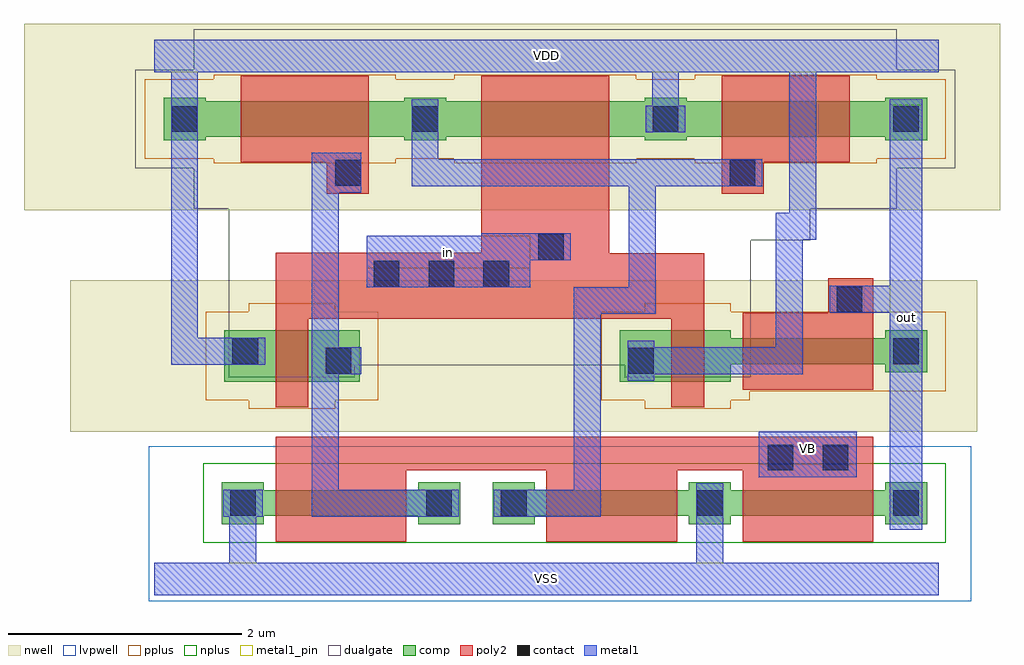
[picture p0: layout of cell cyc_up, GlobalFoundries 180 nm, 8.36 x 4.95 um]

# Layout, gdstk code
import gdstk
lib = gdstk.Library(unit=1e-6, precision=1e-09)
def R(c, l, rs):  # rectangles x0, y0, x1, y1
    for r in rs: c.add(gdstk.rectangle(r[:2], r[2:], *l))
def A(c, l, x, y, w, h, nx, ny, dx, dy):  # array of equal rectangles
    R(c, l, [(x+i*dx, y+j*dy, x+i*dx+w, y+j*dy+h) for i in range(nx) for j in range(ny)])
nwell = (21, 0)
comp = (22, 0)
poly2 = (30, 0)
pplus = (31, 0)
nplus = (32, 0)
contact = (33, 0)
metal1 = (34, 0)
metal1_pin = (34, 10)
dualgate = (55, 0)
lvpwell = (204, 0)

cyc_up = lib.new_cell('cyc_up')
R(cyc_up, nwell, [(-0.72,1.26,7.05,2.56), (-1.115,3.16,7.245,4.755)])
A(cyc_up, comp, 2.9, 0.47, 0.36, 0.07, 3, 2, 1.68, 0.29)
A(cyc_up, comp, 0.08, 3.76, 0.36, 0.03, 4, 2, 2.06, 0.33)
R(cyc_up, comp, [(0.58,0.47,0.94,0.54), (2.26,0.47,2.62,0.54), (0.58,0.54,2.62,0.76), (2.9,0.54,6.62,0.76), (0.58,0.76,0.94,0.83), (2.26,0.76,2.62,0.83), (0.6,1.69,1.76,2.13), (3.99,1.69,4.94,1.84), (6.26,1.77,6.62,1.84), (3.99,1.84,6.62,2.06), (3.99,2.06,4.94,2.13), (6.26,2.06,6.62,2.13), (0.08,3.79,6.62,4.09)])
R(cyc_up, poly2, [(1.04,0.32,2.16,0.93), (3.36,0.32,4.48,0.93), (5.04,0.32,6.16,0.93), (1.04,0.93,6.16,1.22), (1.04,1.47,1.32,2.23), (4.43,1.47,4.71,2.23), (5.04,1.62,6.16,2.28), (1.04,2.23,4.71,2.79), (5.775,2.28,6.16,2.575), (1.04,2.79,3.9,2.795), (2.8,2.795,3.9,4.31), (1.48,3.3,1.84,3.57), (4.86,3.3,5.22,3.57), (0.74,3.57,1.84,4.31), (4.86,3.57,5.96,4.31)])
A(cyc_up, pplus, 0.51, 3.56, 1.56, 0.04, 3, 2, 2.06, 0.72)
R(cyc_up, pplus, [(0.81,1.46,1.55,1.53), (4.2,1.46,4.94,1.53), (0.44,1.53,1.92,2.29), (3.83,1.53,5.1,1.61), (3.83,1.61,6.78,2.29), (0.81,2.29,1.55,2.36), (4.2,2.29,4.94,2.36), (-0.08,3.6,6.78,4.28)])
R(cyc_up, nplus, [(0.42,0.31,6.78,0.99)])
A(cyc_up, contact, 2.97, 0.54, 0.22, 0.22, 3, 1, 1.68, 0)
A(cyc_up, contact, 1.88, 2.505, 0.22, 0.22, 3, 1, 0.47, 0)
A(cyc_up, contact, 0.15, 3.83, 0.22, 0.22, 4, 1, 2.06, 0)
R(cyc_up, contact, [(0.65,0.54,0.87,0.76), (2.33,0.54,2.55,0.76), (5.255,0.93,5.475,1.15), (5.725,0.93,5.945,1.15), (1.47,1.76,1.69,1.98), (4.06,1.76,4.28,1.98), (0.67,1.84,0.89,2.06), (6.33,1.84,6.55,2.06), (5.845,2.285,6.065,2.505), (3.29,2.735,3.51,2.955), (1.55,3.37,1.77,3.59), (4.93,3.37,5.15,3.59)])
R(cyc_up, metal1, [(0,-0.14,6.72,0.14), (0.645,0.14,0.875,0.535), (4.645,0.14,4.875,0.82), (6.3,0.42,6.58,2.28), (0.59,0.535,0.93,0.765), (1.35,0.535,2.61,0.765), (2.91,0.535,3.825,0.765), (1.35,0.765,1.58,1.755), (3.595,0.765,3.825,2.27), (5.18,0.87,6.02,1.26), (4.055,1.7,4.285,1.755), (1.35,1.755,1.775,1.985), (4.055,1.755,5.555,1.985), (0.145,1.835,0.95,2.065), (1.35,1.985,1.58,3.31), (4.055,1.985,4.285,2.04), (5.325,1.985,5.555,2.905), (0.145,2.065,0.375,4.34), (3.595,2.27,4.295,2.5), (5.785,2.28,6.58,2.51), (1.82,2.5,3.22,2.73), (4.065,2.5,4.295,3.365), (6.3,2.51,6.58,4.11), (1.82,2.73,3.57,2.94), (5.325,2.905,5.67,3.135), (2.8,2.94,3.57,2.96), (5.44,3.135,5.67,4.34), (1.35,3.31,1.775,3.65), (2.205,3.365,5.21,3.595), (2.205,3.595,2.435,4.11), (4.21,3.825,4.55,4.055), (4.265,4.055,4.495,4.34), (0,4.34,6.72,4.62)])
R(cyc_up, metal1_pin, [(0,-0.14,6.72,0.14), (6.3,0.42,6.58,4.06), (5.18,0.98,6.02,1.26), (1.82,2.66,3.22,2.94), (0,4.34,6.72,4.62)])
R(cyc_up, dualgate, [(0.64,1.73,1.72,1.83), (4.03,1.73,5.11,1.83), (0.64,1.83,5.11,2.9), (0.64,2.9,5.62,3.17), (0.34,3.17,6.36,3.52), (-0.16,3.52,6.86,4.36), (0.34,4.36,6.36,4.71)])
R(cyc_up, lvpwell, [(-0.045,-0.19,7,1.135)])
cyc_up.add(gdstk.Label('VSS', (3.36,0), layer=34, texttype=10))
cyc_up.add(gdstk.Label('VDD', (3.36,4.48), layer=34, texttype=10))
cyc_up.add(gdstk.Label('out', (6.44,2.24), layer=34, texttype=10))
cyc_up.add(gdstk.Label('in', (2.52,2.8), layer=34, texttype=10))
cyc_up.add(gdstk.Label('VB', (5.6,1.12), layer=34, texttype=10))

lib.write_gds('cyc_up.gds')
